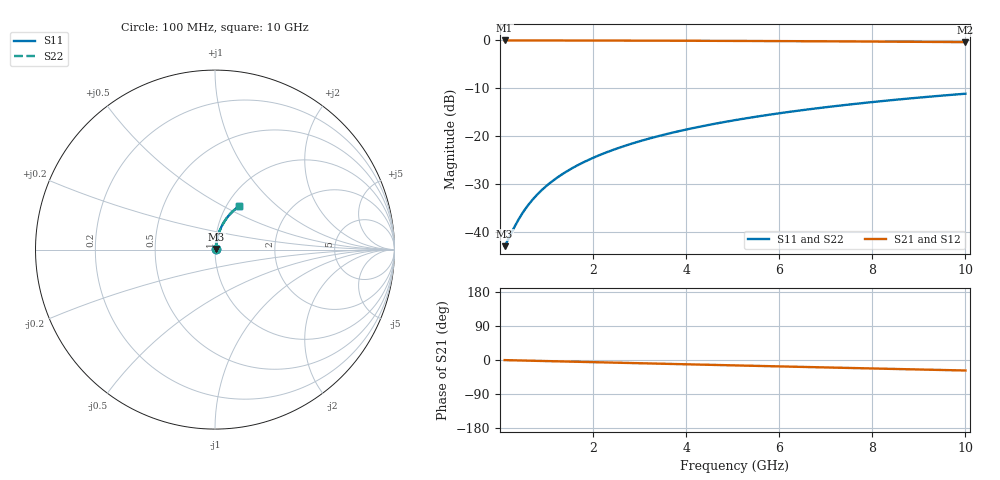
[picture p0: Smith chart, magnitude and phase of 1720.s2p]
# Hz S RI R 50.00
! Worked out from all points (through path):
!   100 points, 100 MHz to 10 GHz, reference 50 ohm
!   highest |S21| = -0.06 dB at 100 MHz (marker M1); lowest = -0.4 dB at 10 GHz (marker M2)
!   group delay of S21, straight-line fit = 7.71 ps
!   lowest |S11| = -43.0 dB at 100 MHz (marker M3), VSWR 1.01, Z = 50.6 + j0.295 ohm
!   |S11| at or under -10 dB: start of sweep to end of sweep
!   |S22| runs from -43.0 to -11.2 dB; largest |S21 - S12| = 0
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1e8  0.00645 0.00291  0.9935 -0.00492  0.9935 -0.00492  0.00645 0.00291
3e8  0.00663 0.00873  0.9933 -0.0148  0.9933 -0.0148  0.00663 0.00873
4e8  0.00676 0.0116  0.9932 -0.0197  0.9932 -0.0197  0.00676 0.0116
5e8  0.00691 0.0145  0.993 -0.0246  0.993 -0.0246  0.00691 0.0145
6e8  0.00709 0.0175  0.9928 -0.0295  0.9928 -0.0295  0.00709 0.0175
7e8  0.00729 0.0204  0.9926 -0.0344  0.9926 -0.0344  0.00729 0.0204
8e8  0.00752 0.0233  0.9923 -0.0393  0.9923 -0.0393  0.00752 0.0233
1e9  0.00807 0.029  0.9917 -0.0491  0.9917 -0.0491  0.00807 0.029
1.2e9  0.00872 0.0348  0.991 -0.0589  0.991 -0.0589  0.00872 0.0348
1.5e9  0.00992 0.0435  0.9896 -0.0736  0.9896 -0.0736  0.00992 0.0435
1.8e9  0.0114 0.0521  0.9879 -0.0882  0.9879 -0.0882  0.0114 0.0521
2.1e9  0.0131 0.0606  0.986 -0.1028  0.986 -0.1028  0.0131 0.0606
2.5e9  0.0157 0.0719  0.983 -0.1221  0.983 -0.1221  0.0157 0.0719
2.9e9  0.0188 0.083  0.9795 -0.1413  0.9795 -0.1413  0.0188 0.083
3.4e9  0.0232 0.0968  0.9743 -0.1651  0.9743 -0.1651  0.0232 0.0968
4.2e9  0.0317 0.1181  0.9646 -0.2026  0.9646 -0.2026  0.0317 0.1181
5.1e9  0.0432 0.1412  0.9514 -0.2438  0.9514 -0.2438  0.0432 0.1412
5.9e9  0.0549 0.1607  0.9379 -0.2794  0.9379 -0.2794  0.0549 0.1607
6.7e9  0.0681 0.179  0.9226 -0.314  0.9226 -0.314  0.0681 0.179
7.5e9  0.0824 0.1962  0.9059 -0.3474  0.9059 -0.3474  0.0824 0.1962
8.4e9  0.1 0.214  0.8854 -0.3835  0.8854 -0.3835  0.1 0.214
1e10  0.1341 0.2414  0.845 -0.4435  0.845 -0.4435  0.1341 0.2414
